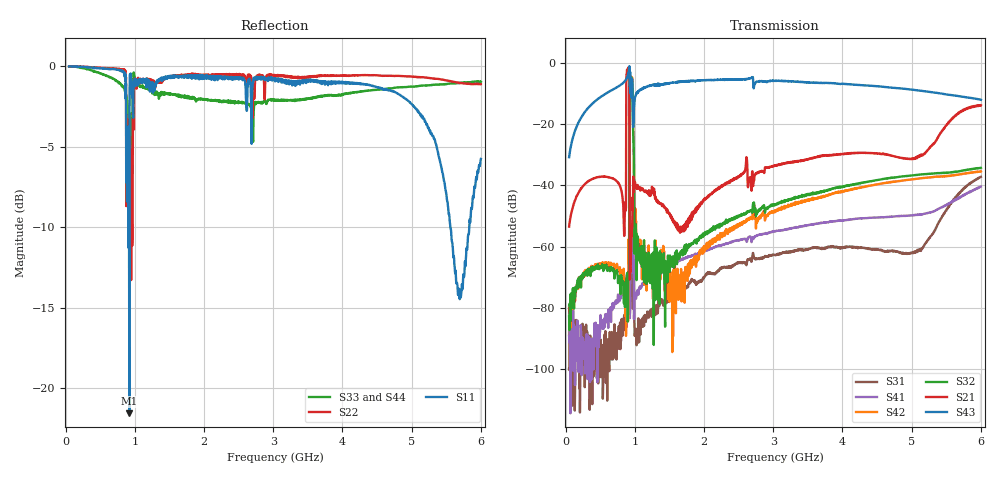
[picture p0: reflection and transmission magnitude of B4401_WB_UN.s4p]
! Matrix data file written by TouchstoneData, EPCOS AG
! FILENAME: "newformat_AA06A_x18y17_WB.s4p"
! COMMENT: "(AA06A_x18y17_WB.s4p) EPCOS AG 03.05.2012 14"
! INFO: nport=4, nfreq=1601
! DATE: "Mon Jun 25 17:54:29 2012"
! USER: "Sergey Rostovtsev"
! port | pin | signal
!  1  |  3  |  TX in
!  2  |  6  |  Ant in/out
!  3  |  8  |  RX out1
!  4  |  1  |  RX out2
# MHZ S MA R 50
! freq  magS11 angS11  magS12 angS12  magS13 angS13  magS14 angS14  ...
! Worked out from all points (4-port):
!   1601 points, 50 MHz to 6 GHz, reference 50 ohm
!   strongest paths, dB at 50 MHz, 1.538 GHz, 3.025 GHz, 4.513 GHz, 6 GHz:
!     S43: -30.8, -6.4, -5.8, -7.6, -12.0
!     S21: -53.5, -50.7, -33.5, -29.6, -13.8
!     S32: -82.8, -65.5, -46.3, -38.2, -34.3
!     S42: -79.7, -70.9, -48.3, -39.6, -35.4
!     S41: -89.2, -66.0, -55.0, -50.5, -40.4
!     S31: -100.0, -76.8, -62.7, -60.9, -37.2
!   lowest |S11| = -21.6 dB at 920.2 MHz (marker M1), VSWR 1.18, Z = 52.2 + j8.29 ohm
!   |S11| at or under -10 dB: 904.5176 MHz to 906.2401 MHz (1.723 MHz wide, 0.19 % of centre); 915.7 MHz to 922.3 MHz (6.633 MHz wide, 0.722 % of centre); 5.559 GHz to 5.833 GHz (273.4 MHz wide, 4.8 % of centre)
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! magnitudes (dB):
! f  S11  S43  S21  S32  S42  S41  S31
! 50 MHz  0.0  -30.8  -53.5  -82.8  -79.7  -89.2  -100.0
! 871.8 MHz  -1.1  -5.3  -47.2  -71.4  -89.2  -72.1  -79.7
! 920.2 MHz  -21.6  -1.0  -9.4  -27.1  -27.4  -36.1  -35.9
! 953.7 MHz  -1.0  -8.9  -56.7  -6.0  -5.9  -61.3  -59.7
! 1.054 GHz  -0.8  -9.3  -40.9  -63.4  -58.9  -74.2  -87.2
! 1.523 GHz  -0.7  -6.4  -49.9  -64.3  -71.4  -66.2  -76.7
! 6 GHz  -5.8  -12.0  -13.8  -34.3  -35.4  -40.4  -37.2
